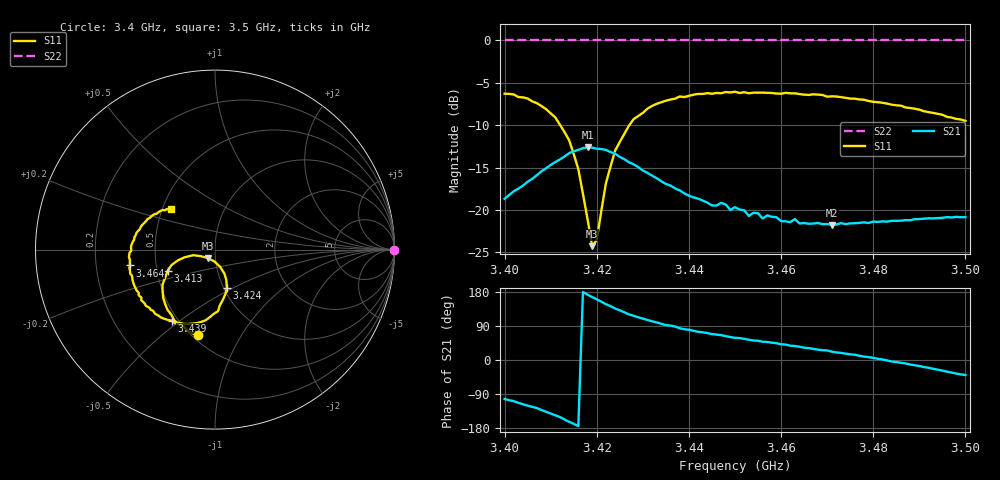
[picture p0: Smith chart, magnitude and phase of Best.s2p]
!Created with skrf (http://scikit-rf.org).
# MHz S RI R 50.0
!freq ReS11 ImS11 ReS21 ImS21 ReS12 ImS12 ReS22 ImS22
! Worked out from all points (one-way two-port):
!   101 points, 3.4 GHz to 3.5 GHz, reference 50 ohm
!   highest |S21| = -12.59 dB at 3.418 GHz (marker M1); lowest = -21.7 dB at 3.471 GHz (marker M2)
!   lowest |S11| = -24.3 dB at 3.419 GHz (marker M3), VSWR 1.13, Z = 46 - j4.31 ohm
!   |S11| at or under -10 dB: 3.412078 GHz to 3.427053 GHz (14.97 MHz wide, 0.438 % of centre)
!   |S22| runs from 0.0 to 0.0 dB; largest |S21 - S12| = 0.23
!   S11 on the Smith chart (normalised r, x): 3.4 GHz: 0.54, -0.67; 3.413 GHz: 0.57, -0.15; 3.424 GHz: 1.03, -0.47; 3.439 GHz: 0.46, -0.47; 3.464 GHz: 0.35, -0.08; 3.5 GHz: 0.55, +0.29
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3400  -0.0963 -0.4754  -0.0261 -0.1137  0 0  1 0
3407  -0.2653 -0.3343  -0.0961 -0.1286  0 0  1 0
3411  -0.2924 -0.1959  -0.1589 -0.1074  0 0  1 0
3413  -0.2631 -0.1174  -0.1901 -0.0814  0 0  1 0
3416  -0.1689 -0.0428  -0.2254 -0.0217  0 0  1 0
3417  -0.1207 -0.0312  -0.2315 0.00284  0 0  1 0
3418  -0.0803 -0.0365  -0.2325 0.0309  0 0  1 0
3419  -0.0396 -0.0467  -0.2264 0.0565  0 0  1 0
3420  -0.00282 -0.0667  -0.2164 0.0779  0 0  1 0
3422  0.0527 -0.1345  -0.1901 0.1227  0 0  1 0
3424  0.0661 -0.2146  -0.1539 0.1498  0 0  1 0
3428  0.0168 -0.3432  -0.0836 0.1662  0 0  1 0
3434  -0.1287 -0.4125  -0.0144 0.1471  0 0  1 0
3439  -0.2423 -0.3951  0.0189 0.124  0 0  1 0
3445  -0.3446 -0.3412  0.039 0.0991  0 0  1 0
3450  -0.411 -0.2818  0.0544 0.0886  0 0  1 0
3453  -0.425 -0.2403  0.0549 0.0741  0 0  1 0
3464  -0.4748 -0.0884  0.0684 0.0477  0 0  1 0
3467  -0.4795 -0.0416  0.0726 0.0408  0 0  1 0
3471  -0.468 0.0122  0.0758 0.0307  0 0  1 0
3484  -0.3889 0.1541  0.0861 -0.00619  0 0  1 0
3500  -0.2453 0.2288  0.0698 -0.0579  0 0  1 0
